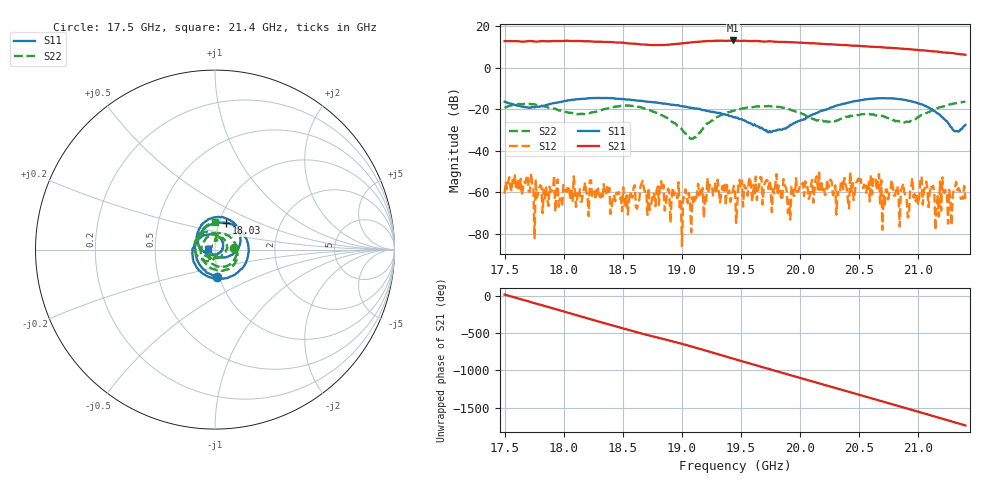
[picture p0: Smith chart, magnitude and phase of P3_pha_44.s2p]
!Created with skrf (http://scikit-rf.org).
# GHz S RI R 50.0
!freq ReS11 ImS11 ReS21 ImS21 ReS12 ImS12 ReS22 ImS22
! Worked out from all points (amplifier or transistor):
!   401 points, 17.5 GHz to 21.4 GHz, reference 50 ohm
!   highest |S21| = 13.2 dB at 19.43 GHz (marker M1)
!   |S21| within 3 dB of that: start of sweep to 20.61 GHz
!   unconditionally stable (mu >= 1): start of sweep to end of sweep
!   at 18.14 GHz: K = 182.66, MAG = 13.1 dB, |S12| = -64.5 dB
!   at 19.45 GHz: K = 92.70, MAG = 13.2 dB, |S12| = -58.6 dB
!   at 21.4 GHz: K = 341.69, MAG = 6.5 dB, |S12| = -63.3 dB
!   S11 on the Smith chart (normalised r, x): 17.5 GHz: 0.98, -0.30; 18.03 GHz: 1.08, +0.33; 21.4 GHz: 0.92, +0.01
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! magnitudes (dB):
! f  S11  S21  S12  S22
! 17.5 GHz  -16.3  12.9  -60.9  -19.3
! 18.03 GHz  -15.9  13.1  -59.9  -21.3
! 18.15 GHz  -15.0  12.9  -64.7  -22.1
! 18.53 GHz  -15.3  11.9  -61.6  -18.1
! 18.67 GHz  -16.1  11.3  -54.5  -19.4
! 18.73 GHz  -16.5  11.1  -68.7  -20.5
! 18.81 GHz  -16.9  11.1  -66.2  -22.4
! 19.08 GHz  -19.2  12.3  -79.5  -34.2
! 19.24 GHz  -21.1  13.0  -56.4  -26.3
! 19.43 GHz  -23.7  13.2  -60.0  -20.9
! 19.45 GHz  -23.8  13.2  -58.6  -20.5
! 19.74 GHz  -30.5  12.8  -54.4  -18.4
! 20.1 GHz  -22.7  11.9  -54.1  -24.5
! 20.7 GHz  -14.7  9.9  -78.2  -23.1
! 20.76 GHz  -14.7  9.7  -60.3  -24.3
! 20.9 GHz  -15.6  9.1  -63.0  -25.9
! 21.12 GHz  -19.9  8.0  -58.0  -20.5
! 21.16 GHz  -21.7  7.9  -66.4  -19.6
! 21.22 GHz  -24.9  7.4  -60.5  -18.4
! 21.26 GHz  -27.4  7.3  -58.9  -17.7
! 21.32 GHz  -30.5  6.8  -55.1  -17.0
! 21.4 GHz  -27.6  6.3  -63.3  -16.3
